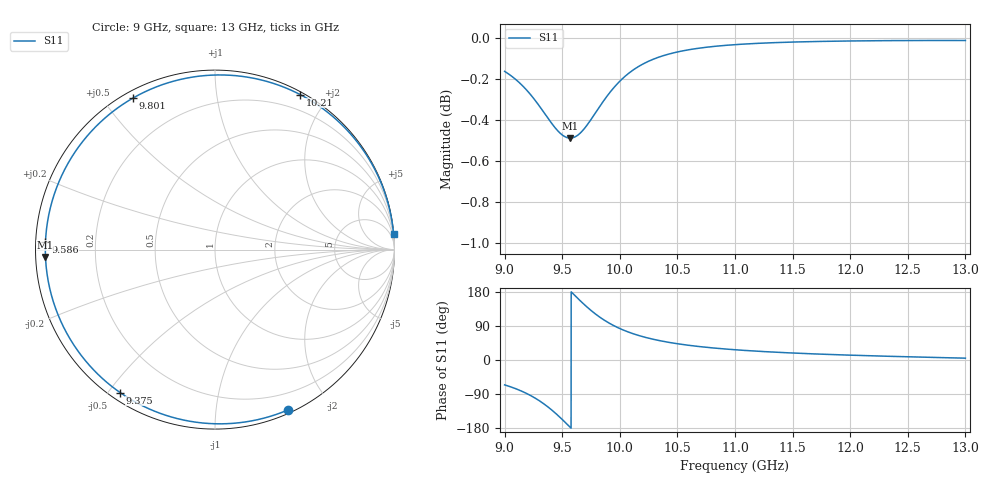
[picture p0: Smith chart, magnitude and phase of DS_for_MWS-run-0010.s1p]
! TOUCHSTONE file generated by CST DESIGN STUDIO
! Date and time: Tue Feb  4 13:52:50 2025
! Project name: C:\Work\MatlabApps\UnitCellOptimizationMatlab\CST\unitcell.cst
! Tree item: Tasks\Sweep1\SPara1\S-Parameters
! Header version: 2024
! Port assignment regex: !\s*Touchstone port\s*([0-9]+)\s*=\s*(CST MWS port|CST DES external port|CST DES block port)\s*(.+)\s* \(\"(.*)\"\)(\s*mode\s*([0-9]+))?.*
! Touchstone port assignment:
! Touchstone port 1 = CST DES external port 1 ("")
# GHz S MA R 50
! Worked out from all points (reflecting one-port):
!   4001 points, 9 GHz to 13 GHz, reference 50 ohm
!   lowest |S11| = -0.5 dB at 9.569 GHz (marker M1), VSWR 35.61, Z = 1.4 - j1.11 ohm
!   phase of S11 starts at -66 deg and turns -290 deg over the sweep
!   S11 on the Smith chart (normalised r, x): 9 GHz: 0.03, -1.55; 9.375 GHz: 0.03, -0.54; 9.586 GHz: 0.03, +0.02; 9.801 GHz: 0.03, +0.59; 10.21 GHz: 0.03, +1.69; 13 GHz: 0, +24
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9  0.9814 -65.7
9.045  0.9794 -70.1
9.112  0.9761 -77.6
9.227  0.9685 -94.0
9.305  0.9622 -108.2
9.375  0.9561 -123.5
9.436  0.951 -138.9
9.5  0.947 -156.8
9.535  0.9458 -167.2
9.569  0.9454 -177.5
9.586  0.9455 177.4
9.641  0.9472 160.9
9.701  0.9511 143.7
9.751  0.9553 130.5
9.801  0.96 118.6
9.844  0.9639 109.3
9.891  0.968 100.3
10  0.9759 83.1
10.098  0.9813 71.2
10.205  0.9855 61.1
10.34  0.9892 51.4
10.5  0.9921 42.9
10.721  0.9944 34.5
11  0.9961 27.1
11.5  0.9976 18.4
12  0.9982 12.8
12.5  0.9984 8.5
13  0.9984 4.8
